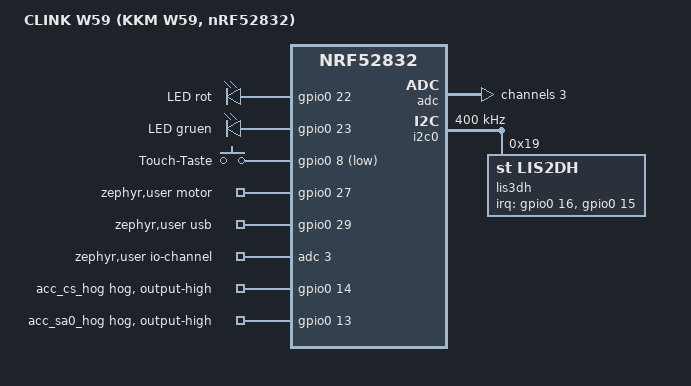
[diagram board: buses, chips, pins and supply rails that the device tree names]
/*
 * CLINK-Armband: KKM W59 mit nRF52832-QFAA (512 KB Flash, 64 KB RAM).
 * Quelle: KKM pca10040_W59u.h und Schaltplan K59_52832 V1.3 (2021-02-22).
 *
 * Nicht bestückt (NC laut Schaltplan/Release-Note): SPI-Flash FM25W04, Summer.
 */

/dts-v1/;
#include <nordic/nrf52832_qfaa.dtsi>
#include "clink_w59-pinctrl.dtsi"
#include <zephyr/dt-bindings/input/input-event-codes.h>

/ {
	model = "CLINK W59 (KKM W59, nRF52832)";
	compatible = "clink,w59";

	chosen {
		zephyr,sram = &sram0;
		zephyr,flash = &flash0;
		zephyr,code-partition = &code_partition;
		zephyr,settings-partition = &settings_partition;
	};

	leds {
		compatible = "gpio-leds";
		led_red: led_0 {
			gpios = <&gpio0 22 GPIO_ACTIVE_HIGH>;
			label = "LED rot";
		};
		led_green: led_1 {
			gpios = <&gpio0 23 GPIO_ACTIVE_HIGH>;
			label = "LED gruen";
		};
	};

	buttons {
		compatible = "gpio-keys";
		touch: touch_0 {
			/* Touch-Controller TTP233D, Ausgang aktiv low */
			gpios = <&gpio0 8 (GPIO_PULL_UP | GPIO_ACTIVE_LOW)>;
			label = "Touch-Taste";
			zephyr,code = <INPUT_KEY_0>;
		};
	};

	zephyr,user {
		/* Vibrationsmotor über MOSFET AO3400 */
		motor-gpios = <&gpio0 27 GPIO_ACTIVE_HIGH>;
		/* USB-Ladekontakte erkannt (5 V über Teiler 2,2M/2,2M) */
		usb-gpios = <&gpio0 29 GPIO_ACTIVE_HIGH>;
		/* Akkuspannung über Teiler 2,2M/2,2M an AIN3 (P0.05) */
		io-channels = <&adc 3>;
	};

	aliases {
		led0 = &led_green;
		led1 = &led_red;
		sw0 = &touch;
		accel0 = &lis3dh;
		watchdog0 = &wdt0;
	};
};

&reg {
	regulator-initial-mode = <NRF5X_REG_MODE_DCDC>;
};

&gpiote {
	status = "okay";
};

&gpio0 {
	status = "okay";

	/* LIS3DH: CS (P0.14) high = I2C-Modus, SA0 (P0.13) high = Adresse 0x19 */
	acc_cs_hog {
		gpio-hog;
		gpios = <14 GPIO_ACTIVE_HIGH>;
		output-high;
	};

	acc_sa0_hog {
		gpio-hog;
		gpios = <13 GPIO_ACTIVE_HIGH>;
		output-high;
	};
};

&adc {
	status = "okay";
	#address-cells = <1>;
	#size-cells = <0>;

	channel@3 {
		reg = <3>;
		zephyr,gain = "ADC_GAIN_1_6";
		zephyr,reference = "ADC_REF_INTERNAL";
		/* Hochohmiger Teiler (1,1 MΩ Quellwiderstand): lange Erfassungszeit */
		zephyr,acquisition-time = <ADC_ACQ_TIME(ADC_ACQ_TIME_MICROSECONDS, 40)>;
		zephyr,input-positive = <NRF_SAADC_AIN3>;
		zephyr,resolution = <12>;
		zephyr,oversampling = <4>;
	};
};

&i2c0 {
	compatible = "nordic,nrf-twim";
	status = "okay";
	clock-frequency = <I2C_BITRATE_FAST>;
	pinctrl-0 = <&i2c0_default>;
	pinctrl-1 = <&i2c0_sleep>;
	pinctrl-names = "default", "sleep";

	lis3dh: lis3dh@19 {
		compatible = "st,lis2dh";
		reg = <0x19>;
		/* INT1 = P0.16, INT2 = P0.15 */
		irq-gpios = <&gpio0 16 GPIO_ACTIVE_HIGH>, <&gpio0 15 GPIO_ACTIVE_HIGH>;
		disconnect-sdo-sa0-pull-up;
	};
};

&uart0 {
	compatible = "nordic,nrf-uarte";
	status = "disabled";
	current-speed = <115200>;
	pinctrl-0 = <&uart0_default>;
	pinctrl-1 = <&uart0_sleep>;
	pinctrl-names = "default", "sleep";
};

&flash0 {
	partitions {
		compatible = "fixed-partitions";
		#address-cells = <1>;
		#size-cells = <1>;

		/*
		 * Pilot: Firmware ab Adresse 0, ohne Bootloader (Flashen per SWD).
		 * Für Updates per Bluetooth (MCUboot) wird code_partition später
		 * in mcuboot + image-0 + image-1 aufgeteilt; settings und log bleiben.
		 */
		code_partition: partition@0 {
			label = "code";
			reg = <0x00000000 0x0007a000>;
		};

		settings_partition: partition@7a000 {
			label = "settings";
			reg = <0x0007a000 0x00002000>;
		};

		/* Begegnungen: 16 KB = 1024 Einträge à 16 Byte */
		log_partition: partition@7c000 {
			label = "encounters";
			reg = <0x0007c000 0x00004000>;
		};
	};
};
